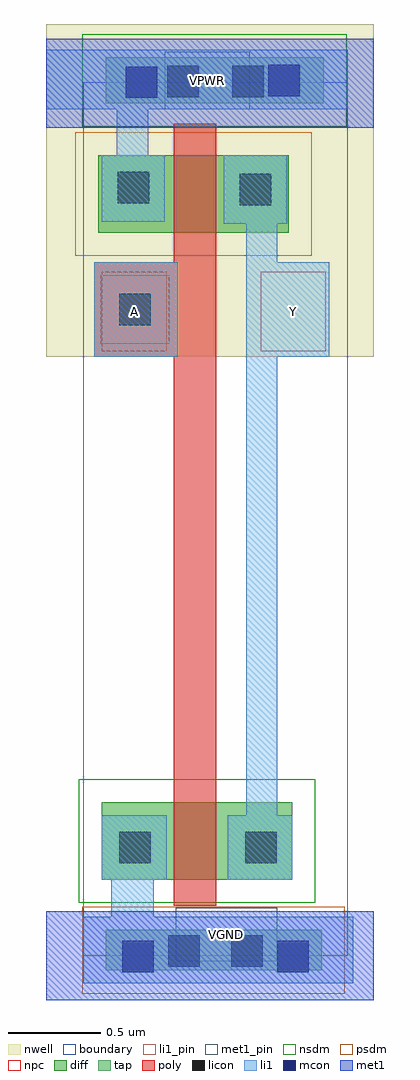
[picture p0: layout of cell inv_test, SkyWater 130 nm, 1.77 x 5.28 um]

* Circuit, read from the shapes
.subckt inv_test A VGND VPWR Y
XM1 Y A VGND VGND sky130_fd_pr__nfet_01v8 w=0.42 l=0.23
XM2 Y A VPWR VPWR sky130_fd_pr__pfet_01v8 w=0.42 l=0.23
.ends

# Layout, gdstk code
import gdstk
lib = gdstk.Library(unit=1e-6, precision=1e-09)
def R(c, l, rs):  # rectangles x0, y0, x1, y1
    for r in rs: c.add(gdstk.rectangle(r[:2], r[2:], *l))
nwell = (64, 20)
diff = (65, 20)
tap = (65, 44)
poly = (66, 20)
licon = (66, 44)
li1_pin = (67, 16)
li1 = (67, 20)
mcon = (67, 44)
met1_pin = (68, 16)
met1 = (68, 20)
nsdm = (93, 44)
psdm = (94, 20)
npc = (95, 20)
boundary = (235, 4)

inv_test = lib.new_cell('inv_test')
R(inv_test, nwell, [(-0.2,3.24,1.57,5.04)])
R(inv_test, diff, [(0.1,0.41,1.13,0.83), (0.08,3.91,1.11,4.33)])
R(inv_test, tap, [(0.12,-0.08,1.29,0.14), (0.12,4.61,1.3,4.86)])
R(inv_test, poly, [(0.49,0.27,0.72,3.24), (0.06,3.24,0.72,3.75), (0.49,3.75,0.72,4.5)])
R(inv_test, licon, [(0.46,-0.06,0.63,0.11), (0.8,-0.06,0.97,0.11), (0.195,0.5,0.365,0.67), (0.875,0.5,1.045,0.67), (0.195,3.41,0.365,3.58), (0.845,4.06,1.015,4.23), (0.185,4.07,0.355,4.24), (0.455,4.645,0.625,4.815), (0.805,4.645,0.975,4.815)])
R(inv_test, li1_pin, [(0.1,3.27,0.45,3.7), (0.96,3.27,1.31,3.7)])
R(inv_test, li1, [(0,-0.15,1.46,0.21), (0.15,0.21,0.38,0.41), (0.1,0.41,0.45,0.76), (0.78,0.41,1.13,0.76), (0.88,0.76,1.05,3.24), (0.06,3.24,0.51,3.75), (0.88,3.24,1.33,3.75), (0.88,3.75,1.05,3.96), (0.76,3.96,1.1,4.33), (0.1,3.97,0.44,4.33), (0.18,4.33,0.35,4.58), (-0.2,4.58,1.43,4.9)])
R(inv_test, mcon, [(0.21,-0.09,0.38,0.08), (1.05,-0.09,1.22,0.08), (0.23,4.64,0.4,4.81), (1,4.65,1.17,4.82)])
R(inv_test, met1_pin, [(0.5,-0.03,1.05,0.26), (0.44,4.58,0.9,4.89)])
R(inv_test, met1, [(-0.2,-0.24,1.57,0.24), (-0.2,4.48,1.57,4.96)])
R(inv_test, nsdm, [(-0.025,0.285,1.255,0.955), (-0.005,4.485,1.425,4.985)])
R(inv_test, psdm, [(-0.005,-0.205,1.415,0.265), (-0.045,3.785,1.235,4.455)])
R(inv_test, npc, [(0.095,3.31,0.465,3.68)])
R(inv_test, boundary, [(0,0,1.43,4.725)])
inv_test.add(gdstk.Label('A', (0.275,3.485), layer=67, texttype=5))
inv_test.add(gdstk.Label('Y', (1.135,3.485), layer=67, texttype=5))
inv_test.add(gdstk.Label('VPWR', (0.67,4.735), layer=68, texttype=5))
inv_test.add(gdstk.Label('VGND', (0.775,0.115), layer=68, texttype=5))

lib.write_gds('inv_test.gds')
